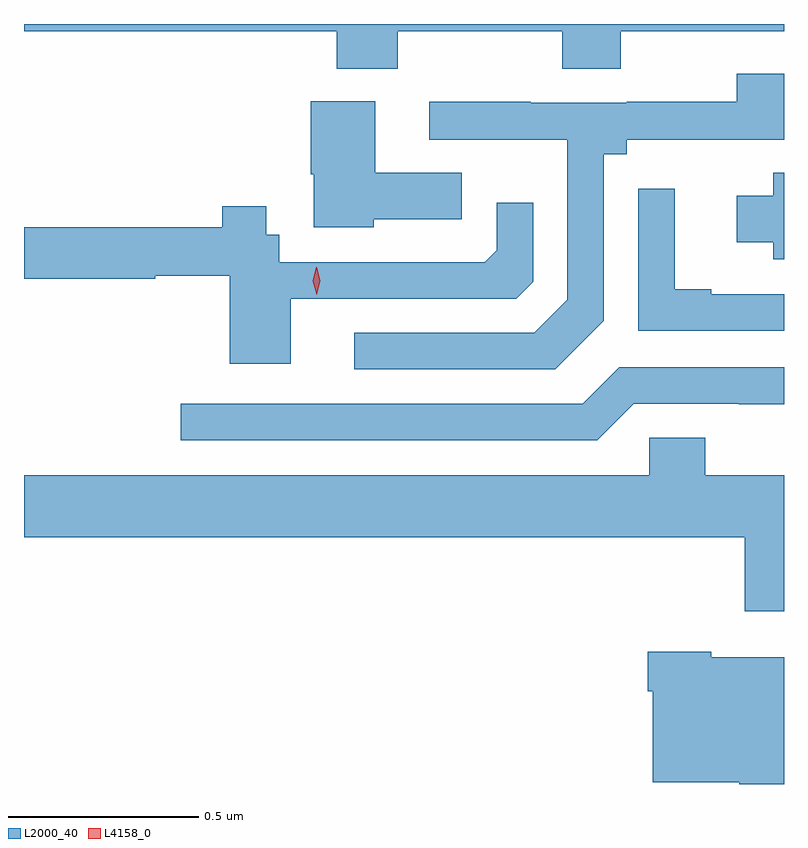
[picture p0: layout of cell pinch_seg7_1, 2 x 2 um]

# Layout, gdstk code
import gdstk
lib = gdstk.Library(unit=1e-6, precision=1e-09)
def P(c, l, *ps):  # polygons
    for p in ps: c.add(gdstk.Polygon(p, *l))
L2000_40 = (2000, 40)
L4158_0 = (4158, 0)

pinch_seg7_1 = lib.new_cell('pinch_seg7_1')
P(pinch_seg7_1, L2000_40, [(1105.953,1075.208),(1106.386,1075.208),(1106.386,1075.109),(1106.541,1075.109),(1106.541,1075.208),(1106.97,1075.208),(1106.97,1075.227),(1104.97,1075.227),(1104.97,1075.208),(1105.793,1075.208),(1105.793,1075.109),(1105.953,1075.109)],
  [(1106.496,1074.446),(1106.496,1074.884),(1106.556,1074.884),(1106.556,1074.923),(1106.97,1074.923),(1106.97,1075.096),(1106.846,1075.096),(1106.846,1075.022),(1106.556,1075.022),(1106.556,1075.02),(1106.303,1075.02),(1106.303,1075.022),(1106.037,1075.022),(1106.037,1074.923),(1106.4,1074.923),(1106.4,1074.501),(1106.313,1074.414),(1105.839,1074.414),(1105.839,1074.318),(1106.368,1074.318)],
  [(1105.89,1074.713),(1106.122,1074.713),(1106.122,1074.835),(1105.894,1074.835),(1105.894,1075.024),(1105.724,1075.024),(1105.724,1074.831),(1105.733,1074.831),(1105.733,1074.692),(1105.89,1074.692)],
  [(1106.97,1074.835),(1106.942,1074.835),(1106.942,1074.775),(1106.846,1074.775),(1106.846,1074.653),(1106.942,1074.653),(1106.942,1074.608),(1106.97,1074.608)],
  [(1106.97,1074.516),(1106.779,1074.516),(1106.779,1074.529),(1106.683,1074.529),(1106.683,1074.793),(1106.586,1074.793),(1106.586,1074.42),(1106.97,1074.42)],
  [(1105.672,1074.504),(1106.265,1074.504),(1106.31,1074.549),(1106.31,1074.757),(1106.214,1074.757),(1106.214,1074.632),(1106.182,1074.6),(1105.642,1074.6),(1105.642,1074.673),(1105.608,1074.673),(1105.608,1074.748),(1105.492,1074.748),(1105.492,1074.692),(1104.97,1074.692),(1104.97,1074.556),(1105.315,1074.556),(1105.315,1074.564),(1105.511,1074.564),(1105.511,1074.333),(1105.672,1074.333)],
  [(1106.574,1074.228),(1106.851,1074.228),(1106.851,1074.227),(1106.97,1074.227),(1106.97,1074.324),(1106.537,1074.324),(1106.441,1074.228),(1105.383,1074.228),(1105.383,1074.132),(1106.478,1074.132)],
  [(1106.97,1074.04),(1106.763,1074.04),(1106.763,1074.138),(1106.616,1074.138),(1106.616,1074.04),(1104.97,1074.04),(1104.97,1073.876),(1106.867,1073.876),(1106.867,1073.682),(1106.97,1073.682)],
  [(1106.97,1073.56),(1106.778,1073.56),(1106.778,1073.575),(1106.612,1073.575),(1106.612,1073.471),(1106.624,1073.471),(1106.624,1073.231),(1106.852,1073.231),(1106.852,1073.227),(1106.97,1073.227)])
P(pinch_seg7_1, L4158_0, [(1105.741,1074.515),(1105.741,1074.515),(1105.73,1074.551),(1105.739,1074.587),(1105.739,1074.587),(1105.74,1074.587),(1105.75,1074.551),(1105.741,1074.515)])

lib.write_gds('pinch_seg7_1.gds')
